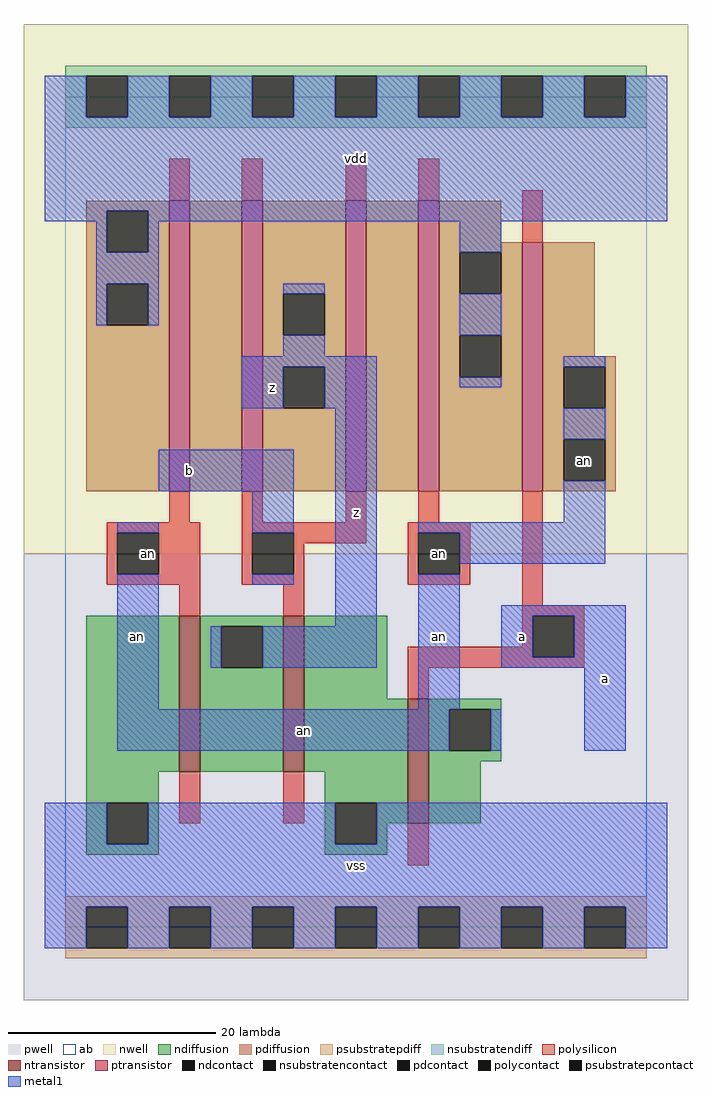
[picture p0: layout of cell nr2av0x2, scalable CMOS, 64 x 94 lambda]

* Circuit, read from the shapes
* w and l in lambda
.subckt nr2av0x2 a an b vdd vss z
M1 z an vss vss nfet w=15 l=2
M2 vss b z vss nfet w=15 l=2
M3 an a vss vss nfet w=12 l=2
M4 n1 an vdd vdd pfet w=28 l=2
M5 z b n1 vdd pfet w=28 l=2
M6 n2 b z vdd pfet w=28 l=2
M7 vdd an n2 vdd pfet w=28 l=2
M8 an a vdd vdd pfet w=24 l=2
.ends

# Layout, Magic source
magic
tech scmos
<< ab >>
rect 0 0 56 80
<< pwell >>
rect -4 -7 60 36
<< nwell >>
rect -4 36 60 87
<< polysilicon >>
rect 10 70 12 74
rect 17 70 19 74
rect 27 70 29 74
rect 34 70 36 74
rect 44 66 46 71
rect 10 39 12 42
rect 17 39 19 42
rect 27 39 29 42
rect 34 39 36 42
rect 4 38 13 39
rect 4 34 5 38
rect 9 34 13 38
rect 4 33 13 34
rect 17 38 29 39
rect 17 34 18 38
rect 22 37 29 38
rect 33 38 39 39
rect 22 34 23 37
rect 17 33 23 34
rect 33 34 34 38
rect 38 34 39 38
rect 33 33 39 34
rect 11 30 13 33
rect 21 30 23 33
rect 44 31 46 42
rect 44 30 50 31
rect 44 27 45 30
rect 33 26 45 27
rect 49 26 50 30
rect 33 25 50 26
rect 33 22 35 25
rect 11 10 13 15
rect 21 10 23 15
rect 33 6 35 10
<< ndiffusion >>
rect 2 15 11 30
rect 13 29 21 30
rect 13 25 15 29
rect 19 25 21 29
rect 13 15 21 25
rect 23 22 31 30
rect 23 15 33 22
rect 2 12 9 15
rect 2 8 4 12
rect 8 8 9 12
rect 25 12 33 15
rect 2 7 9 8
rect 25 8 26 12
rect 30 10 33 12
rect 35 21 42 22
rect 35 17 37 21
rect 41 17 42 21
rect 35 16 42 17
rect 35 10 40 16
rect 30 8 31 10
rect 25 7 31 8
<< pdiffusion >>
rect 2 69 10 70
rect 2 65 4 69
rect 8 65 10 69
rect 2 62 10 65
rect 2 58 4 62
rect 8 58 10 62
rect 2 42 10 58
rect 12 42 17 70
rect 19 61 27 70
rect 19 57 21 61
rect 25 57 27 61
rect 19 54 27 57
rect 19 50 21 54
rect 25 50 27 54
rect 19 42 27 50
rect 29 42 34 70
rect 36 66 42 70
rect 36 65 44 66
rect 36 61 38 65
rect 42 61 44 65
rect 36 57 44 61
rect 36 53 38 57
rect 42 53 44 57
rect 36 42 44 53
rect 46 55 51 66
rect 46 54 53 55
rect 46 50 48 54
rect 52 50 53 54
rect 46 47 53 50
rect 46 43 48 47
rect 52 43 53 47
rect 46 42 53 43
<< metal1 >>
rect -2 78 2 82
rect 6 78 10 82
rect 14 78 18 82
rect 22 78 26 82
rect 30 78 34 82
rect 38 78 42 82
rect 46 78 50 82
rect 54 78 58 82
rect -2 69 58 78
rect -2 68 4 69
rect 3 65 4 68
rect 8 68 58 69
rect 8 65 9 68
rect 3 62 9 65
rect 38 65 42 68
rect 3 58 4 62
rect 8 58 9 62
rect 21 61 25 62
rect 21 55 25 57
rect 38 57 42 61
rect 17 54 30 55
rect 17 50 21 54
rect 25 50 30 54
rect 38 52 42 53
rect 48 54 52 55
rect 9 42 22 46
rect 5 38 9 39
rect 5 21 9 34
rect 18 38 22 42
rect 18 33 22 34
rect 26 29 30 50
rect 48 47 52 50
rect 48 39 52 43
rect 14 25 15 29
rect 19 25 30 29
rect 34 38 52 39
rect 38 35 52 38
rect 34 21 38 34
rect 42 30 54 31
rect 42 26 45 30
rect 49 26 54 30
rect 42 25 54 26
rect 5 17 37 21
rect 41 17 42 21
rect 50 17 54 25
rect -2 8 4 12
rect 8 8 26 12
rect 30 8 58 12
rect -2 2 58 8
rect -2 -2 2 2
rect 6 -2 10 2
rect 14 -2 18 2
rect 22 -2 26 2
rect 30 -2 34 2
rect 38 -2 42 2
rect 46 -2 50 2
rect 54 -2 58 2
<< ntransistor >>
rect 11 15 13 30
rect 21 15 23 30
rect 33 10 35 22
<< ptransistor >>
rect 10 42 12 70
rect 17 42 19 70
rect 27 42 29 70
rect 34 42 36 70
rect 44 42 46 66
<< polycontact >>
rect 5 34 9 38
rect 18 34 22 38
rect 34 34 38 38
rect 45 26 49 30
<< ndcontact >>
rect 15 25 19 29
rect 4 8 8 12
rect 26 8 30 12
rect 37 17 41 21
<< pdcontact >>
rect 4 65 8 69
rect 4 58 8 62
rect 21 57 25 61
rect 21 50 25 54
rect 38 61 42 65
rect 38 53 42 57
rect 48 50 52 54
rect 48 43 52 47
<< psubstratepcontact >>
rect 2 -2 6 2
rect 10 -2 14 2
rect 18 -2 22 2
rect 26 -2 30 2
rect 34 -2 38 2
rect 42 -2 46 2
rect 50 -2 54 2
<< nsubstratencontact >>
rect 2 78 6 82
rect 10 78 14 82
rect 18 78 22 82
rect 26 78 30 82
rect 34 78 38 82
rect 42 78 46 82
rect 50 78 54 82
<< psubstratepdiff >>
rect 0 2 56 3
rect 0 -2 2 2
rect 6 -2 10 2
rect 14 -2 18 2
rect 22 -2 26 2
rect 30 -2 34 2
rect 38 -2 42 2
rect 46 -2 50 2
rect 54 -2 56 2
rect 0 -3 56 -2
<< nsubstratendiff >>
rect 0 82 56 83
rect 0 78 2 82
rect 6 78 10 82
rect 14 78 18 82
rect 22 78 26 82
rect 30 78 34 82
rect 38 78 42 82
rect 46 78 50 82
rect 54 78 56 82
rect 0 77 56 78
<< labels >>
rlabel polycontact 8 36 8 36 6 an
rlabel polycontact 36 36 36 36 6 an
rlabel metal1 7 28 7 28 6 an
rlabel metal1 12 44 12 44 6 b
rlabel metal1 20 52 20 52 6 z
rlabel metal1 28 6 28 6 6 vss
rlabel metal1 36 28 36 28 6 an
rlabel metal1 23 19 23 19 6 an
rlabel metal1 28 40 28 40 6 z
rlabel metal1 28 74 28 74 6 vdd
rlabel metal1 44 28 44 28 6 a
rlabel metal1 52 24 52 24 6 a
rlabel pdcontact 50 45 50 45 6 an
<< end >>
